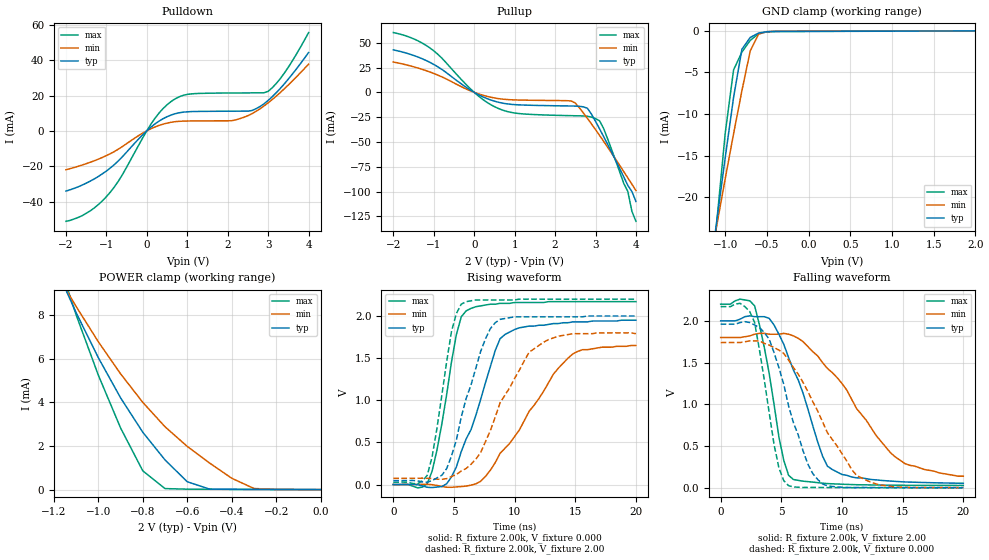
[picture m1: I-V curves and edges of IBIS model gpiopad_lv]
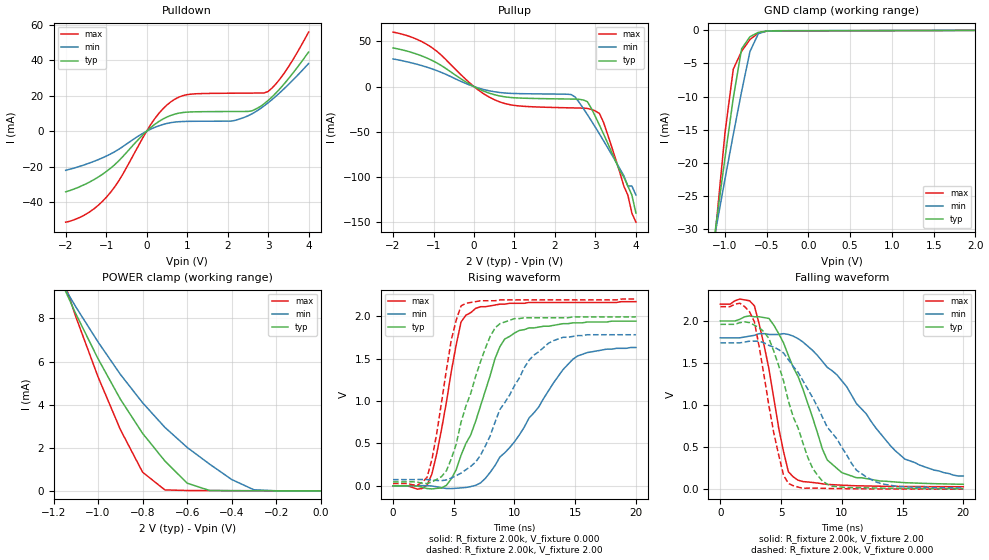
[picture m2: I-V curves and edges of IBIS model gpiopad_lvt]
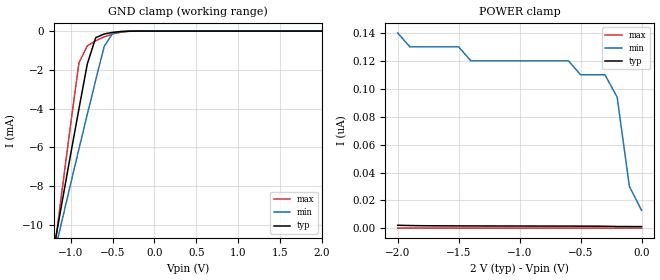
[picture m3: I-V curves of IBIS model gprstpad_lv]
| IBIS file m32a2t44.ibs created by s2ibis2 version 1.1
| North Carolina State University Electronics Research Laboratory  1995
[IBIS ver]   2.1
[File name]   m32a2t44.ibs
[File Rev]   1.0
[Date]   September 4, 2008
[Source]   Lars Snith
[Notes]   Property of Atmel Corporation
[Disclaimer] (C) Copyright ATMEL Norway 2006 Atmel Norway makes no warranty
                 for the use of its products, other than those explicitly
                 stated in the Company's standard warranty which is detailed in
                 Atmel's Terms and Conditions located on the Company's web
                 site. The Company assumes no responsibility for any errors
                 which may appear in this document. The user is granted this
                 license only to use the IBIS model and is not granted rights
                 to sell, load, rent, lease or license the IBIS model in whole
                 or in part, or in modified form to anyone other than user.
                 User may modify the IBIS model to suit its specific
                 applications but rights to derivative works and such
                 modifications shall belong to Atmel Norway. This IBIS model is
                 provided on an \"AS IS\" basis and Atmel Norway makes
                 absolutely no warranty with respect to the information
                 contained herein.
[Copyright]   Copyright (c) 2008 by ATMEL Norway
|   Component atmega32a_20_tqfp44
[Component]   atmega32a_20_tqfp44
[Manufacturer]   Atmel Corp.
[Package]
| variable   typ   min   max
R_pkg   17.30m   14.80m   19.80m
L_pkg   1.34nH   1.11nH   1.57nH
C_pkg   0.39pF   0.34pF   0.43pF
[Pin]  signal_name   model_name   R_pin   L_pin   C_pin
1   PB5   gpiopad_lv
| db5  db5   dummy
| enb5 enb5   dummy
2   PB6   gpiopad_lv
| db6  db6   dummy
| enb6 enb6   dummy
3   PB7   gpiopad_lv
| db7  db7   dummy
| enb7 enb7   dummy
4   RESET   gprstpad_lv
5   VCC   POWER
6   GND   GND
7   XTAL2   xtalpad_lv
| dx2  dx2   dummy
| enx2 enx2   dummy
8   XTAL1   xtalpad_lv
| dx1  dx1   dummy
| enx1 enx1   dummy
9   PD0   gpiopad_lv
| dd0  dd0   dummy
| end0 end0   dummy
10   PD1   gpiopad_lv
| dd1  dd1   dummy
| end1 end1   dummy
11   PD2   gpiopad_lv
| dd2  dd2   dummy
| end2 end2   dummy
12   PD3   gpiopad_lv
| dd3  dd3   dummy
| end3 end3   dummy
13   PD4   gpiopad_lv
| dd4  dd4   dummy
| end4 end4   dummy
14   PD5   gpiopad_lv
| dd5  dd5   dummy
| end5 end5   dummy
15   PD6   gpiopad_lv
| dd6  dd6   dummy
| end6 end6   dummy
16   PD7   gpiopad_lv
| dd7  dd7   dummy
| end7 end7   dummy
17   VCC   POWER
18   GND   GND
19   PC0   gpiopad_lvt
| dc0  dc0   dummy
| enc0 enc0   dummy
20   PC1   gpiopad_lvt
| dc1  dc1   dummy
| enc1 enc1   dummy
21   PC2   gpiopad_lv
| dc2  dc2   dummy
| enc2 enc2   dummy
22   PC3   gpiopad_lv
| dc3  dc3   dummy
| enc3 enc3   dummy
23   PC4   gpiopad_lv
| dc4  dc4   dummy
| enc4 enc4   dummy
24   PC5   gpiopad_lv
| dc5  dc5   dummy
| enc5 enc5   dummy
25   PC6   gpiopad_lv
| dc6  dc6   dummy
| enc6 enc6   dummy
26   PC7   gpiopad_lv
| dc7  dc7   dummy
| enc7 enc7   dummy
27   AVCC   POWER
28   GND   GND
29   AREF   gpiopad_aref_lv
| darefdaref   dummy
| enarfenarf   dummy
30   PA7   gpiopad_lv
| da7  da7   dummy
| ena7 ena7   dummy
31   PA6   gpiopad_lv
| da6  da6   dummy
| ena6 ena6   dummy
32   PA5   gpiopad_lv
| da5  da5   dummy
| ena5 ena5   dummy
33   PA4   gpiopad_lv
| da4  da4   dummy
| ena4 ena4   dummy
34   PA3   gpiopad_lv
| da3  da3   dummy
| ena3 ena3   dummy
35   PA2   gpiopad_lv
| da2  da2   dummy
| ena2 ena2   dummy
36   PA1   gpiopad_lv
| da1  da1   dummy
| ena1 ena1   dummy
37   PA0   gpiopad_lv
| da0  da0   dummy
| ena0 ena0   dummy
38   VCC   POWER
39   GND   GND
40   PB0   gpiopad_lv
| db0  db0   dummy
| enb0 enb0   dummy
41   PB1   gpiopad_lv
| db1  db1   dummy
| enb1 enb1   dummy
42   PB2   gpiopad_lv
| db2  db2   dummy
| enb2 enb2   dummy
43   PB3   gpiopad_lv
| db3  db3   dummy
| enb3 enb3   dummy
44   PB4   gpiopad_lv
| Models and submodels in the file (5): gpiopad_lv (I/O), gpiopad_aref_lv (I/O), gpiopad_lvt (I/O), gprstpad_lv (Input), xtalpad_lv (I/O)
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| db4  db4   dummy
| enb4 enb4   dummy
|   Model gpiopad_lv
[Model]   gpiopad_lv
Model_type   I/O
Polarity   Non-Inverting
Enable   Active-High
Vinl =   0.60V
Vinh =   1.40V
Vmeas =   1.00V
Cref =  50.00pF
C_comp   4.21pF   4.21pF   4.61pF
[Temperature Range]   27.00   0.12k   -55.00
[Voltage Range]   2.00V   1.80V   2.20V
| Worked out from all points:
|   slope of the pulldown table from 0 to 0.3 V, typ, clamps not added: 55.2 ohm
|   slope of the pullup table from 0 to 0.3 V, typ, clamps not added: 49.8 ohm
|   GND clamp passes 1 mA (typ) near -0.71 V on its own axis
|   POWER clamp passes 1 mA (typ) near -0.66 V on its own axis
|   rising waveform, R_fixture 2.00k, V_fixture 0.000: 20-80 % time 2.74ns typ, 4.6ns min, 1.51ns max; typ from 0 V to 1.95 V
|   rising waveform, R_fixture 2.00k, V_fixture 2.00: 20-80 % time 2.27ns typ, 3.4ns min, 1.38ns max; typ from 0.047 V to 2 V
|   falling waveform, R_fixture 2.00k, V_fixture 2.00: 20-80 % time 2.78ns typ, 5.12ns min, 1.54ns max; typ from 2 V to 0.055 V
|   falling waveform, R_fixture 2.00k, V_fixture 0.000: 20-80 % time 2.4ns typ, 4.03ns min, 1.43ns max; typ from 1.96 V to 0.001 V
[Pulldown]
| voltage   I(typ)   I(min)   I(max)
-2V       -34.12mA   -22.01mA   -51.2mA
-1.4V     -28.46mA   -17.78mA   -45.3mA
-1V       -22.73mA   -14.01mA   -37.27mA
-600mV    -14.55mA   -8.8mA     -24.63mA
100mV     2.09mA     1.19mA     3.78mA
600mV     8.96mA     4.86mA     16.62mA
1V        10.79mA    5.57mA     20.65mA
2.1V      11.13mA    5.75mA     21.43mA
2.6V      11.51mA    9.72mA     21.51mA
3V        17.24mA    15.87mA    22.39mA
3.4V      26.62mA    23.83mA    32.71mA
4V        44.35mA    37.79mA    55.65mA
[Pullup]
| voltage   I(typ)   I(min)   I(max)
-2V       42.79mA    30.6mA     60.26mA
-1.1V     30.32mA    20.57mA    44.92mA
0V        0A         0A         0A
600mV     -10mA      -6.32mA    -16.31mA
1.1V      -12.61mA   -7.75mA    -21.34mA
2.4V      -13.77mA   -8.73mA    -23.52mA
2.8V      -16.11mA   -26.26mA   -24.11mA
3.1V      -36.8mA    -43.39mA   -28.68mA
3.2V      -44.53mA   -49.31mA   -36.36mA
3.8V      -93.85mA   -86.29mA   -100mA
3.9V      -100mA     -92.62mA   -120mA
4V        -110mA     -98.99mA   -130mA
[GND_clamp]
| voltage   I(typ)   I(min)   I(max)
-2V       -96.58mA   -77.54mA   -130mA
-1.2V     -30.46mA   -29.03mA   -33.69mA
-1.1V     -22.77mA   -23.34mA   -22.85mA
-1V       -15.26mA   -17.79mA   -12.32mA
-900mV    -8.02mA    -12.4mA    -4.7mA
-800mV    -2.21mA    -7.21mA    -2.56mA
-700mV    -790uA     -2.41mA    -1.14mA
-600mV    -260uA     -390uA     -350uA
-500mV    -98.35uA   -96.47uA   -110uA
2V        52.86pA    7.37uA     -6.18uA
[POWER_clamp]
| voltage   I(typ)   I(min)   I(max)
-2V       33.07mA    27.15mA    42.54mA
-1.2V     10.38mA    10.13mA    11.12mA
-1.1V     8.12mA     8.4mA      8.02mA
-1V       6.05mA     6.78mA     5.25mA
-900mV    4.21mA     5.31mA     2.83mA
-800mV    2.63mA     4mA        860uA
-700mV    1.36mA     2.88mA     46.5uA
-600mV    360uA      1.98mA     19.47uA
-500mV    22.74uA    1.22mA     15.49uA
-400mV    11.65uA    520uA      12.38uA
-300mV    8.59uA     50.31uA    9.28uA
0V        53.08pA    1.68nA     17.78pA
[Ramp]
| variable   typ   min   max
dV/dt_r   1.17/2.69n   0.99/4.43n   1.30/1.48n
dV/dt_f   1.17/2.74n   1.00/4.96n   1.30/1.50n
R_load = 2.00k
[Rising Waveform]
R_fixture = 2.00k
V_fixture = 0.000
V_fixture_min = 0.000
V_fixture_max = 0.000
| time   V(typ)   V(min)   V(max)
0s        0V         540nV      0V
2.8ns     -32.19mV   2.44mV     10.58mV
3.6ns     -29.13mV   -10.93mV   410mV
4.4ns     9.63mV     -31.9mV    1.07V
5.2ns     210mV      -28.18mV   1.78V
6ns       540mV      -18.56mV   2.06V
8.4ns     1.59V      260mV      2.14V
9.2ns     1.78V      430mV      2.15V
14.8ns    1.93V      1.55V      2.17V
20ns      1.95V      1.65V      2.17V
[Rising Waveform]
R_fixture = 2.00k
V_fixture = 2.00
V_fixture_min = 1.80
V_fixture_max = 2.20
| time   V(typ)   V(min)   V(max)
0s        46.62mV    73.87mV    28.11mV
2.8ns     27.19mV    74.04mV    110mV
4.4ns     190mV      70.66mV    1.46V
4.8ns     340mV      94.62mV    1.82V
5.6ns     800mV      160mV      2.14V
7.6ns     1.73V      510mV      2.19V
8.8ns     1.96V      970mV      2.19V
11.2ns    1.99V      1.57V      2.2V
12.8ns    1.99V      1.72V      2.2V
20ns      2V         1.79V      2.2V
[Falling Waveform]
R_fixture = 2.00k
V_fixture = 2.00
V_fixture_min = 1.80
V_fixture_max = 2.20
| time   V(typ)   V(min)   V(max)
0s        2V         1.8V       2.2V
1.6ns     2.02V      1.8V       2.26V
2.8ns     2.05V      1.84V      2.18V
4ns       2.03V      1.84V      1.37V
5.2ns     1.72V      1.85V      330mV
6ns       1.41V      1.82V      100mV
8.4ns     380mV      1.5V       56.13mV
9.2ns     220mV      1.38V      48.65mV
14.4ns    77.73mV    370mV      31.78mV
20ns      55mV       140mV      28.69mV
[Falling Waveform]
R_fixture = 2.00k
V_fixture = 0.000
V_fixture_min = 0.000
V_fixture_max = 0.000
| time   V(typ)   V(min)   V(max)
0s        1.96V      1.74V      2.17V
1.6ns     1.98V      1.74V      2.21V
2.8ns     1.95V      1.76V      1.98V
4ns       1.78V      1.71V      900mV
4.8ns     1.44V      1.65V      240mV
5.6ns     980mV      1.53V      25.72mV
7.2ns     280mV      1.15V      5.2mV
8ns       99.92mV    920mV      5.02mV
11.2ns    4.56mV     150mV      2.13mV
20ns      1.34mV     3.85mV     160uV
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|   Model gpiopad_lvt
[Model]   gpiopad_lvt
Model_type   I/O
Polarity   Non-Inverting
Enable   Active-High
Vinl =   0.60V
Vinh =   1.40V
Vmeas =   1.00V
Cref =  50.00pF
C_comp   4.47pF   4.47pF   4.88pF
[Temperature Range]   27.00   0.12k   -55.00
[Voltage Range]   2.00V   1.80V   2.20V
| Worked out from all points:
|   slope of the pulldown table from 0 to 0.3 V, typ, clamps not added: 55.2 ohm
|   slope of the pullup table from 0 to 0.3 V, typ, clamps not added: 49.8 ohm
|   GND clamp passes 1 mA (typ) near -0.70 V on its own axis
|   POWER clamp passes 1 mA (typ) near -0.66 V on its own axis
|   rising waveform, R_fixture 2.00k, V_fixture 0.000: 20-80 % time 2.87ns typ, 4.93ns min, 1.64ns max; typ from 0 V to 1.94 V
|   rising waveform, R_fixture 2.00k, V_fixture 2.00: 20-80 % time 2.48ns typ, 3.62ns min, 1.48ns max; typ from 0.047 V to 1.99 V
|   falling waveform, R_fixture 2.00k, V_fixture 2.00: 20-80 % time 2.95ns typ, 5.54ns min, 1.67ns max; typ from 2 V to 0.062 V
|   falling waveform, R_fixture 2.00k, V_fixture 0.000: 20-80 % time 2.59ns typ, 4.22ns min, 1.62ns max; typ from 1.96 V to 0.008 V
[Pulldown]
| voltage   I(typ)   I(min)   I(max)
-2V       -34.1mA    -22.01mA   -51.2mA
-1.5V     -29.65mA   -18.59mA   -46.71mA
-1V       -22.73mA   -14.02mA   -37.28mA
-600mV    -14.54mA   -8.8mA     -24.63mA
100mV     2.09mA     1.19mA     3.78mA
600mV     8.96mA     4.86mA     16.62mA
1V        10.79mA    5.57mA     20.65mA
2.1V      11.13mA    5.75mA     21.43mA
2.6V      11.52mA    9.8mA      21.51mA
3V        17.32mA    16.03mA    22.4mA
3.4V      26.78mA    24.07mA    32.79mA
4V        44.63mA    38.15mA    55.86mA
[Pullup]
| voltage   I(typ)   I(min)   I(max)
-2V       42.79mA    30.6mA     60.31mA
-1.1V     30.32mA    20.57mA    44.92mA
0V        0A         0A         0A
500mV     -8.9mA     -5.66mA    -14.42mA
1.1V      -12.61mA   -7.75mA    -21.34mA
2.4V      -13.77mA   -8.84mA    -23.52mA
2.8V      -16.68mA   -30.95mA   -24.17mA
3.1V      -42.74mA   -52.48mA   -29.82mA
3.7V      -100mA     -98.44mA   -110mA
3.8V      -110mA     -110mA     -120mA
3.9V      -120mA     -110mA     -140mA
4V        -140mA     -120mA     -150mA
[GND_clamp]
| voltage   I(typ)   I(min)   I(max)
-2V       -120mA     -97.59mA   -160mA
-1.2V     -38.35mA   -36.62mA   -42.28mA
-1.1V     -28.7mA    -29.47mA   -28.72mA
-1V       -19.31mA   -22.48mA   -15.55mA
-900mV    -10.2mA    -15.72mA   -5.85mA
-800mV    -2.78mA    -9.2mA     -3.14mA
-700mV    -950uA     -3.18mA    -1.38mA
-600mV    -300uA     -500uA     -400uA
-500mV    -100uA     -110uA     -120uA
2V        66.34pA    7.59uA     -6.18uA
[POWER_clamp]
| voltage   I(typ)   I(min)   I(max)
-2V       33.35mA    27.47mA    42.79mA
-1.2V     10.5mA     10.29mA    11.2mA
-1.1V     8.22mA     8.54mA     8.08mA
-1V       6.13mA     6.91mA     5.29mA
-900mV    4.26mA     5.41mA     2.85mA
-800mV    2.67mA     4.09mA     870uA
-700mV    1.39mA     2.95mA     46.8uA
-600mV    360uA      2.02mA     19.47uA
-500mV    23.29uA    1.25mA     15.49uA
-400mV    11.66uA    530uA      12.38uA
-300mV    8.59uA     53.02uA    9.28uA
0V        66.56pA    2.03nA     26.54pA
[Ramp]
| variable   typ   min   max
dV/dt_r   1.17/2.91n   0.98/4.71n   1.30/1.61n
dV/dt_f   1.16/2.96n   0.99/5.38n   1.30/1.66n
R_load = 2.00k
[Rising Waveform]
R_fixture = 2.00k
V_fixture = 0.000
V_fixture_min = 0.000
V_fixture_max = 0.000
| time   V(typ)   V(min)   V(max)
0s        0V         600nV      0V
2.4ns     -16.58mV   3.11mV     -30.79mV
3.2ns     -35.66mV   -1.43mV    140mV
4.4ns     7.22mV     -30.89mV   990mV
5.6ns     360mV      -23.6mV    1.93V
6ns       500mV      -18.77mV   2.01V
7.2ns     940mV      34.57mV    2.11V
9.2ns     1.73V      390mV      2.14V
14.8ns    1.92V      1.49V      2.16V
20ns      1.94V      1.63V      2.17V
[Rising Waveform]
R_fixture = 2.00k
V_fixture = 2.00
V_fixture_min = 1.80
V_fixture_max = 2.20
| time   V(typ)   V(min)   V(max)
0s        46.62mV    73.87mV    28.11mV
2.8ns     27.6mV     74.09mV    100mV
3.6ns     76.24mV    64.37mV    620mV
4.4ns     180mV      70.29mV    1.37V
5.6ns     750mV      150mV      2.12V
7.2ns     1.46V      360mV      2.18V
8.8ns     1.91V      900mV      2.19V
11.2ns    1.98V      1.48V      2.19V
12.8ns    1.98V      1.68V      2.19V
20ns      1.99V      1.78V      2.2V
[Falling Waveform]
R_fixture = 2.00k
V_fixture = 2.00
V_fixture_min = 1.80
V_fixture_max = 2.20
| time   V(typ)   V(min)   V(max)
0s        2V         1.8V       2.2V
2.8ns     2.05V      1.83V      2.18V
4ns       2.03V      1.84V      1.43V
5.2ns     1.74V      1.85V      450mV
5.6ns     1.59V      1.84V      210mV
6ns       1.45V      1.82V      150mV
8.8ns     350mV      1.45V      60.25mV
10ns      200mV      1.29V      51.24mV
15.2ns    80.7mV     360mV      35.58mV
20ns      62.06mV    160mV      32.66mV
[Falling Waveform]
R_fixture = 2.00k
V_fixture = 0.000
V_fixture_min = 0.000
V_fixture_max = 0.000
| time   V(typ)   V(min)   V(max)
0s        1.96V      1.74V      2.17V
1.6ns     1.98V      1.74V      2.21V
2.8ns     1.95V      1.76V      1.99V
4ns       1.79V      1.71V      990mV
5.2ns     1.29V      1.62V      170mV
5.6ns     1.05V      1.54V      71.42mV
7.6ns     250mV      1.09V      16.8mV
8.8ns     62.64mV    740mV      12.24mV
12.8ns    17.53mV    90.29mV    6.77mV
20ns      8.23mV     17.76mV    3.91mV
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|   Model gprstpad_lv
[Model]   gprstpad_lv
Model_type   Input
Polarity   Non-Inverting
Vinl =   0.60V
Vinh =   1.40V
C_comp   0.99pF   0.91pF   1.20pF
[Temperature Range]   27.00   0.12k   -55.00
[Voltage Range]   2.00V   1.80V   2.20V
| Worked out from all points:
|   GND clamp passes 1 mA (typ) near -0.75 V on its own axis
[GND_clamp]
| voltage   I(typ)   I(min)   I(max)
-2V       -31.58mA   -26.85mA   -40.2mA
-1.2V     -11.23mA   -11.58mA   -11.54mA
-1.1V     -8.78mA    -9.73mA    -8.15mA
-1V       -6.37mA    -7.89mA    -4.83mA
-900mV    -4mA       -6.07mA    -1.63mA
-800mV    -1.68mA    -4.28mA    -760uA
-700mV    -340uA     -2.52mA    -500uA
-600mV    -150uA     -800uA     -300uA
-500mV    -67.06uA   -130uA     -150uA
-400mV    -22.72uA   -25.16uA   -55.9uA
-200mV    -460nA     -710nA     -580nA
2V        1.32nA     93.95nA    180pA
[POWER_clamp]
| voltage   I(typ)   I(min)   I(max)
-2V       2.27nA     140nA      250pA
-1.9V     2.05nA     130nA      250pA
-1.5V     1.8nA      130nA      230pA
-1.4V     1.78nA     120nA      230pA
-600mV    1.65nA     120nA      200pA
-500mV    1.63nA     110nA      200pA
-300mV    1.54nA     110nA      200pA
-200mV    1.36nA     93.95nA    190pA
-100mV    1.33nA     30.12nA    190pA
0V        1.32nA     12.97nA    180pA
